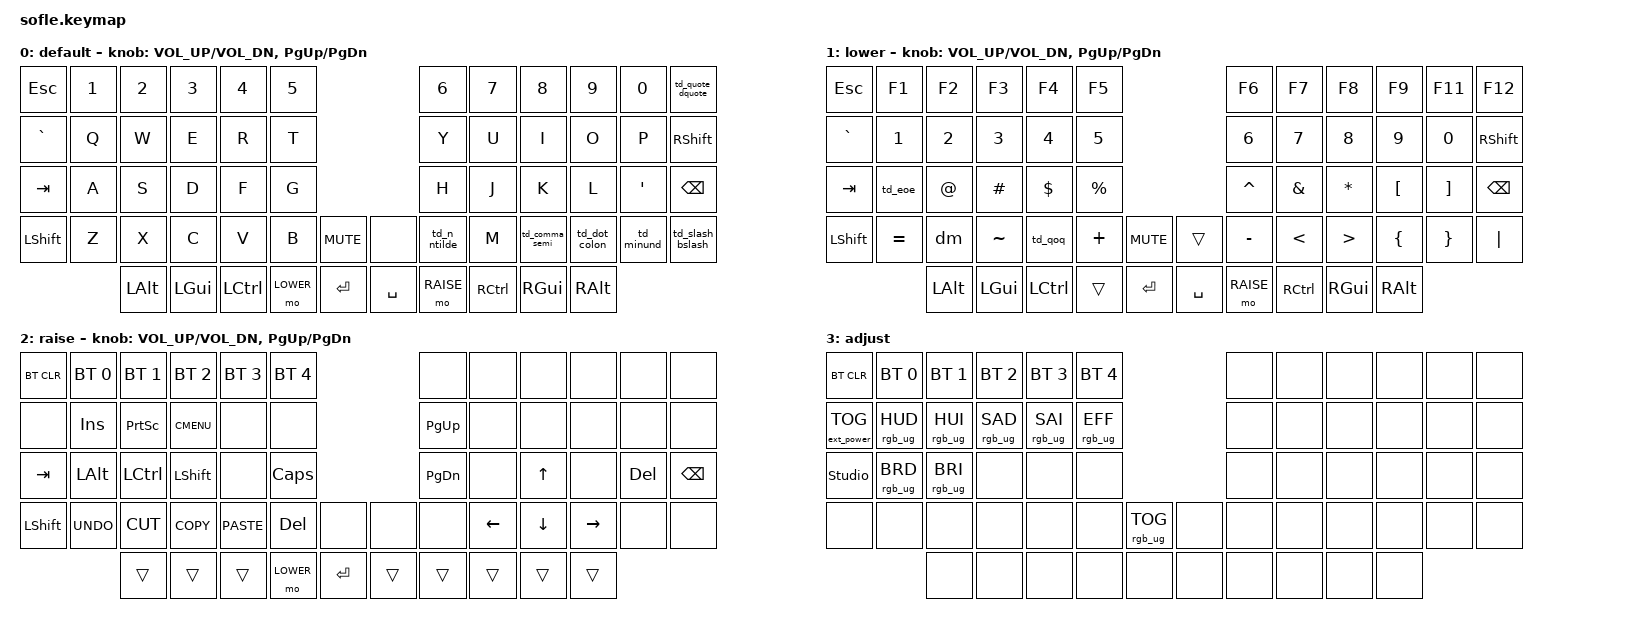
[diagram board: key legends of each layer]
/*
 * Copyright (c) 2020 The ZMK Contributors
 *
 * SPDX-License-Identifier: MIT
 */

#include <behaviors.dtsi>
#include <dt-bindings/zmk/bt.h>
#include <dt-bindings/zmk/ext_power.h>
#include <dt-bindings/zmk/keys.h>
#include <dt-bindings/zmk/rgb.h>

#define BASE 0
#define LOWER 1
#define RAISE 2
#define ADJUST 3

/ {
    conditional_layers {
        compatible = "zmk,conditional-layers";

        adjust_layer {
            if-layers = <LOWER RAISE>;
            then-layer = <ADJUST>;
        };
    };

    macros {
        quote_macro: quote_macro {
            compatible = "zmk,behavior-macro";
            label = "QUOTE_MACRO";
            #binding-cells = <0>;

            bindings
                = <&macro_press &kp RALT>
                , <&macro_tap &kp SQT>
                , <&macro_release &kp RALT>
                ;
        };

        double_quote_macro: double_quote_macro {
            compatible = "zmk,behavior-macro";
            label = "DOUBLE_QUOTE_MACRO";
            #binding-cells = <0>;

            bindings
                = <&macro_press &kp RALT>
                , <&macro_press &kp LSHFT>
                , <&macro_tap &kp SQT>
                , <&macro_release &kp LSHFT>
                , <&macro_release &kp RALT>
                ;
        };

        //double_quote_macro: double_quote_macro {
        //    compatible = "zmk,behavior-macro";
        //    label = "DOUBLE_QUOTE_MACRO";
        //    #binding-cells = <0>;

        //    bindings
        //        = <&macro_press &kp LSHFT>
        //        , <&macro_tap &kp SQT>
        //        , <&macro_release &kp LSHFT>
        //        ;
        //};

        underscore_macro: underscore_macro {
            compatible = "zmk,behavior-macro";
            label = "UNDERSCORE_MACRO";
            #binding-cells = <0>;

            bindings
                = <&macro_press &kp LSHFT>
                , <&macro_tap &kp MINUS>
                , <&macro_release &kp LSHFT>
                ;
        };

        question_open_macro: question_open_macro {
            compatible = "zmk,behavior-macro";
            label = "QUESTION_OPEN_MACRO";
            #binding-cells = <0>;
        
            bindings
                = <&macro_press &kp RALT>
                , <&macro_press &kp LSHFT>
                , <&macro_tap &kp FSLH>
                , <&macro_release &kp LSHFT>
                , <&macro_release &kp RALT>
                ;
        };

        question_macro: question_macro {
            compatible = "zmk,behavior-macro";
            label = "QUESTION_MACRO";
            #binding-cells = <0>;
        
            bindings
                = <&macro_press &kp LSHFT>
                , <&macro_tap &kp FSLH>
                , <&macro_release &kp LSHFT>
                ;
        };

        open_exclam_macro: open_exclam_macro {
            compatible = "zmk,behavior-macro";
            label = "OPEN_EXCLAM_MACRO";
            #binding-cells = <0>;
        
            bindings
                = <&macro_press &kp RALT>
                , <&macro_tap &kp N1>
                , <&macro_release &kp RALT>
                ;
        };

        dm: dm{
            compatible = "zmk,behavior-macro";
            label = "DEGREE_MACRO";
            #binding-cells = <0>;
        
            bindings
                = <&macro_press &kp LSHFT>
                , <&macro_tap &kp GRAVE>
                , <&macro_release &kp LSHFT>
                ;
        };


    };

    behaviors {
        td_dot_colon: td_dot_colon {
            compatible = "zmk,behavior-tap-dance";
            label = "TD_DOT_COLON";
            #binding-cells = <0>;
            tapping-term-ms = <200>;
            bindings = <&kp DOT>, <&kp COLON>;
        };

        td_comma_semi: td_comma_semi {
            compatible = "zmk,behavior-tap-dance";
            label = "TD_COMMA_SEMI";
            #binding-cells = <0>;
            tapping-term-ms = <200>;
            bindings = <&kp COMMA>, <&kp SEMI>;
        };

        td_n_ntilde: td_n_ntilde {
            compatible = "zmk,behavior-tap-dance";
            label = "TD_N_NTILDE";
            #binding-cells = <0>;
            tapping-term-ms = <200>;
            bindings = <&kp N>, <&kp SEMI>;
        };

        td_slash_bslash: td_slash_bslash {
            compatible = "zmk,behavior-tap-dance";
            label = "TD_SLASH_BSLASH";
            #binding-cells = <0>;
            tapping-term-ms = <200>;
            bindings = <&kp FSLH>, <&kp BSLH>;
        };

        td_minund: td_minund{
            compatible = "zmk,behavior-tap-dance";
            label = "TD_MINUS_UNDERSCORE";
            #binding-cells = <0>;
            tapping-term-ms = <200>;
            bindings = <&kp MINUS>, <&underscore_macro>;
        };

        //td_quote_dquote: td_quote_dquote {
        //    compatible = "zmk,behavior-tap-dance";
        //    label = "TD_QUOTE_DQUOTE";
        //    #binding-cells = <0>;
        //    tapping-term-ms = <200>;
        //    bindings = <&kp SQT>, <&double_quote_macro>;
        //};

        td_quote_dquote: td_quote_dquote {
              compatible = "zmk,behavior-tap-dance";
              label = "TD_QUOTE_DQUOTE";
              #binding-cells = <0>;
              tapping-term-ms = <200>;

            bindings = <&quote_macro>, <&double_quote_macro>;
        };

        td_qoq: td_qoq {
            compatible = "zmk,behavior-tap-dance";
            label = "TD_QUESTION_OPEN";
            #binding-cells = <0>;
            tapping-term-ms = <200>;
        
            bindings = <&question_macro>, <&question_open_macro>;
        };

        td_eoe: td_eoe {
            compatible = "zmk,behavior-tap-dance";
            label = "td_eoe";
            #binding-cells = <0>;
            tapping-term-ms = <200>;
        
            bindings = <&kp EXCL>, <&open_exclam_macro>;
        };


    };

    keymap {
        compatible = "zmk,keymap";

        default_layer {
            label = "default";

            bindings = <
&kp ESC    &kp N1  &kp N2    &kp N3    &kp N4     &kp N5                              &kp N6        &kp N7     &kp N8          &kp N9          &kp N0     &td_quote_dquote
&kp GRAVE  &kp Q   &kp W     &kp E     &kp R      &kp T                               &kp Y         &kp U      &kp I           &kp O           &kp P      &kp RSHFT
&kp TAB    &kp A   &kp S     &kp D     &kp F      &kp G                               &kp H         &kp J      &kp K           &kp L           &kp SQT    &kp BSPC
&kp LSHFT  &kp Z   &kp X     &kp C     &kp V      &kp B      &kp C_MUTE    &none      &td_n_ntilde  &kp M      &td_comma_semi  &td_dot_colon   &td_minund &td_slash_bslash 
                   &kp LALT  &kp LGUI  &kp LCTRL  &mo LOWER  &kp RET       &kp SPACE  &mo RAISE     &kp RCTRL  &kp RGUI        &kp RALT  
            >;

            sensor-bindings = <&inc_dec_kp C_VOL_UP C_VOL_DN &inc_dec_kp PG_UP PG_DN>;
        };

        lower_layer {
            label = "lower";

            bindings = < 
&kp ESC         &kp F1    &kp F2    &kp F3    &kp F4     &kp F5                                  &kp F6     &kp F7    &kp F8    &kp F9    &kp F11   &kp F12
&kp GRAVE       &kp N1    &kp N2    &kp N3    &kp N4     &kp N5                                  &kp N6     &kp N7    &kp N8    &kp N9    &kp N0    &kp RSHFT
&kp TAB         &td_eoe   &kp AT    &kp HASH  &kp DLLR   &kp PRCNT                               &kp CARET  &kp AMPS  &kp ASTRK &kp LBKT  &kp RBKT  &kp BSPC
&kp LSHFT       &kp EQUAL &dm       &kp TILDE &td_qoq    &kp PLUS  &kp C_MUTE         &trans     &kp MINUS  &kp LT    &kp GT    &kp LBRC  &kp RBRC  &kp PIPE
                          &kp LALT  &kp LGUI  &kp LCTRL  &trans    &kp RET            &kp SPACE  &mo RAISE  &kp RCTRL &kp RGUI  &kp RALT
            >;

            sensor-bindings = <&inc_dec_kp C_VOL_UP C_VOL_DN &inc_dec_kp PG_UP PG_DN>;
        };

        raise_layer {
            label = "raise";

            bindings = <
&bt BT_CLR  &bt BT_SEL 0  &bt BT_SEL 1  &bt BT_SEL 2  &bt BT_SEL 3  &bt BT_SEL 4                    &none      &none     &none     &none      &none    &none
&none       &kp INS       &kp PSCRN     &kp K_CMENU   &none         &none                           &kp PG_UP  &none     &none     &none      &none    &none
&kp TAB     &kp LALT      &kp LCTRL     &kp LSHFT     &none         &kp CLCK                        &kp PG_DN  &none     &kp UP    &none      &kp DEL  &kp BSPC
&kp LSHFT   &kp K_UNDO    &kp K_CUT     &kp K_COPY    &kp K_PASTE   &kp DEL       &none     &none   &none      &kp LEFT  &kp DOWN  &kp RIGHT  &none    &none
                          &trans        &trans        &trans        &mo LOWER     &kp RET   &trans  &trans     &trans    &trans    &trans
            >;

            sensor-bindings = <&inc_dec_kp C_VOL_UP C_VOL_DN &inc_dec_kp PG_UP PG_DN>;
        };

        adjust_layer {
            label = "adjust";

            bindings = <
&bt BT_CLR         &bt BT_SEL 0     &bt BT_SEL 1     &bt BT_SEL 2     &bt BT_SEL 3     &bt BT_SEL 4                               &none  &none  &none  &none  &none  &none
&ext_power EP_TOG  &rgb_ug RGB_HUD  &rgb_ug RGB_HUI  &rgb_ug RGB_SAD  &rgb_ug RGB_SAI  &rgb_ug RGB_EFF                            &none  &none  &none  &none  &none  &none
&studio_unlock     &rgb_ug RGB_BRD  &rgb_ug RGB_BRI  &none            &none            &none                                      &none  &none  &none  &none  &none  &none
&none              &none            &none            &none            &none            &none            &rgb_ug RGB_TOG    &none  &none  &none  &none  &none  &none  &none
                                    &none            &none            &none            &none            &none              &none  &none  &none  &none  &none
            >;
        };
    };
};
